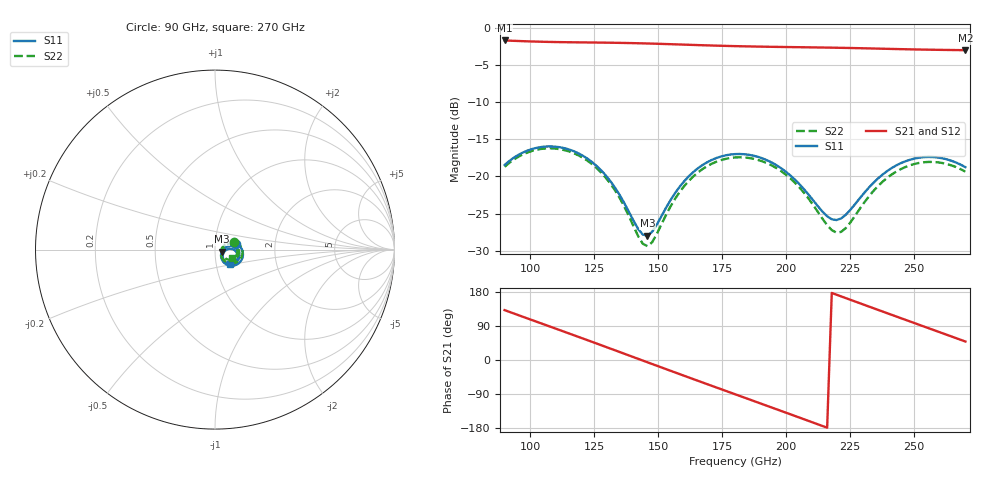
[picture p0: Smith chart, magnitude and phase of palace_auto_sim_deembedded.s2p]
! Created with skrf 1.11.0 (http://scikit-rf.org).
# GHz S DB R 50.0
!freq dBS11 angS11 dBS21 angS21 dBS12 angS12 dBS22 angS22
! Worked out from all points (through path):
!   101 points, 90 GHz to 270 GHz, reference 50 ohm
!   highest |S21| = -1.64 dB at 90 GHz (marker M1); lowest = -2.9 dB at 270 GHz (marker M2)
!   group delay of S21, straight-line fit = 6.84 ps
!   lowest |S11| = -28.0 dB at 145.8 GHz (marker M3), VSWR 1.08, Z = 53.9 - j1.27 ohm
!   |S11| at or under -10 dB: start of sweep to end of sweep
!   |S22| runs from -29.4 to -16.2 dB; largest |S21 - S12| = 8.9e-14
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90  -18.45 16.5  -1.64 131.6  -1.64 131.6  -18.70 22.3
99  -16.49 0.4  -1.75 109.5  -1.75 109.5  -16.75 6.6
106.2  -15.96 -13.3  -1.82 92.0  -1.82 92.0  -16.21 -6.9
113.4  -16.18 -27.1  -1.87 74.4  -1.87 74.4  -16.44 -20.4
120.6  -17.21 -40.2  -1.90 56.7  -1.90 56.7  -17.48 -33.4
133.2  -21.55 -55.9  -1.95 25.4  -1.95 25.4  -21.91 -49.9
142.2  -27.10 -39.9  -2.01 3.0  -2.01 3.0  -28.08 -35.1
145.8  -27.99 -17.2  -2.04 -6.0  -2.04 -6.0  -29.41 -9.5
151.2  -25.40 8.7  -2.10 -19.5  -2.10 -19.5  -26.51 21.1
156.6  -22.24 13.9  -2.16 -32.8  -2.16 -32.8  -23.01 26.9
163.8  -19.38 8.2  -2.24 -50.6  -2.24 -50.6  -19.97 21.1
172.8  -17.50 -5.2  -2.34 -72.7  -2.34 -72.7  -18.00 7.7
180  -16.98 -17.3  -2.40 -90.3  -2.40 -90.3  -17.43 -4.3
194.4  -18.12 -40.1  -2.49 -125.5  -2.49 -125.5  -18.52 -27.4
203.4  -20.43 -49.4  -2.54 -147.6  -2.54 -147.6  -20.84 -37.8
210.6  -23.25 -48.4  -2.57 -165.3  -2.57 -165.3  -23.88 -38.6
217.8  -25.78 -29.7  -2.61 176.9  -2.61 176.9  -27.25 -19.9
221.4  -25.68 -15.1  -2.63 168.0  -2.63 168.0  -27.49 -1.9
230.4  -22.25 2.9  -2.69 145.8  -2.69 145.8  -23.56 21.9
241.2  -18.87 -3.7  -2.78 119.2  -2.78 119.2  -19.74 15.6
255.6  -17.36 -24.5  -2.88 84.0  -2.88 84.0  -18.04 -5.7
270  -18.75 -45.1  -2.95 48.8  -2.95 48.8  -19.36 -27.2
